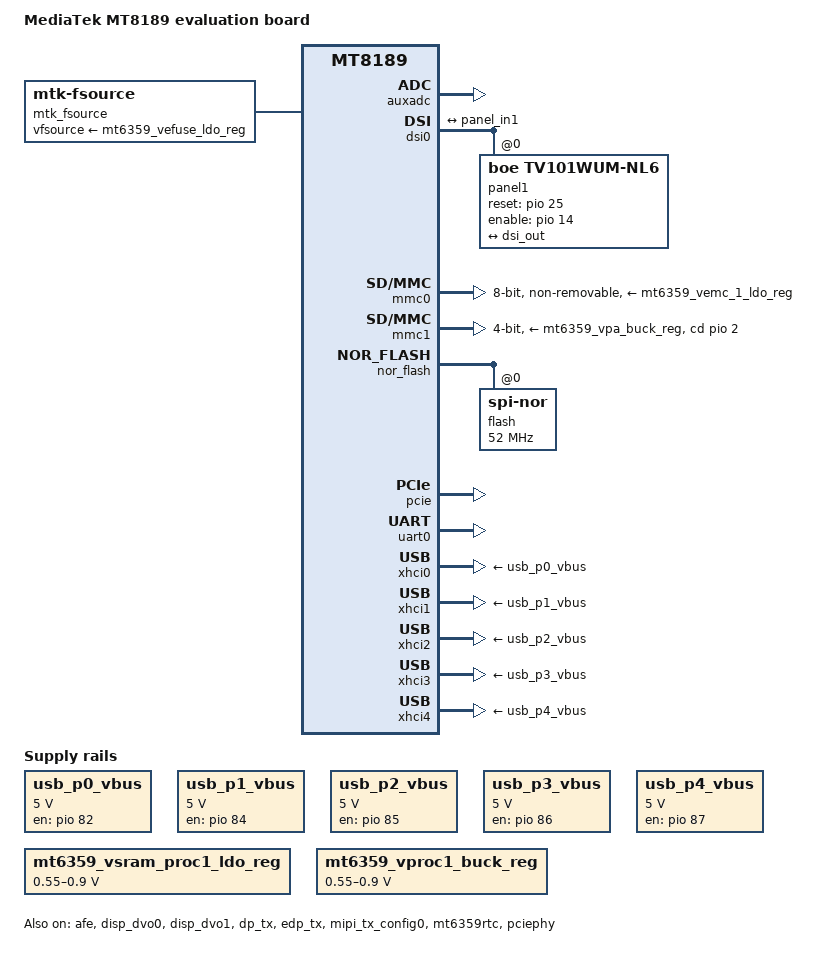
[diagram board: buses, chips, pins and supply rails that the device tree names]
// SPDX-License-Identifier: (GPL-2.0 OR MIT)
/*
 * Copyright (C) 2025 MediaTek Inc.
 * Author: Sirius Wang <sirius.wang@mediatek.com>
 */
/dts-v1/;
#include "mt8189.dtsi"
#include "mt8189-pinfunc.h"
#include "mt6319.dtsi"
#include "mt6359.dtsi"
#include <dt-bindings/gpio/gpio.h>

/ {
	model = "MediaTek MT8189 evaluation board";
	compatible = "mediatek,mt8189-evb", "mediatek,mt8189";

	chosen: chosen {
		stdout-path = "serial0:115200n8";
	};

	usb_p0_vbus: regulator@0 {
		compatible = "regulator-fixed";
		regulator-name = "p0_vbus";
		regulator-min-microvolt = <5000000>;
		regulator-max-microvolt = <5000000>;
		gpio = <&pio 82 0>;
		enable-active-high;
	};

	usb_p1_vbus: regulator@1 {
		compatible = "regulator-fixed";
		regulator-name = "p1_vbus";
		regulator-min-microvolt = <5000000>;
		regulator-max-microvolt = <5000000>;
		gpio = <&pio 84 0>;
		enable-active-high;
	};

	usb_p2_vbus: regulator@2 {
		compatible = "regulator-fixed";
		regulator-name = "p2_vbus";
		regulator-min-microvolt = <5000000>;
		regulator-max-microvolt = <5000000>;
		gpio = <&pio 85 0>;
		enable-active-high;
	};

	usb_p3_vbus: regulator@3 {
		compatible = "regulator-fixed";
		regulator-name = "p3_vbus";
		regulator-min-microvolt = <5000000>;
		regulator-max-microvolt = <5000000>;
		gpio = <&pio 86 0>;
		enable-active-high;
	};

	usb_p4_vbus: regulator@4 {
		compatible = "regulator-fixed";
		regulator-name = "p4_vbus";
		regulator-min-microvolt = <5000000>;
		regulator-max-microvolt = <5000000>;
		gpio = <&pio 87 0>;
		enable-active-high;
	};

	mtk_fsource: fsource {
		compatible = "mtk-fsource";
		vfsource-supply = <&mt6359_vefuse_ldo_reg>;
	};
};

&afe{
	pinctrl-names = "aud-gpio-i2sin0-off",
		"aud-gpio-i2sin0-on",
		"aud-gpio-i2sout0-off",
		"aud-gpio-i2sout0-on",
		"aud-gpio-i2sin1-off",
		"aud-gpio-i2sin1-on",
		"aud-gpio-i2sout1-off",
		"aud-gpio-i2sout1-on",
		/*dmic*/
		"aud-gpio-ap-dmic-off",
		"aud-gpio-ap-dmic-on",
		"aud-gpio-ap-dmic1-off",
		"aud-gpio-ap-dmic1-on",
		/*pcm*/
		"aud-gpio-pcm-off",
		"aud-gpio-pcm-on";

	/* i2s */
	pinctrl-0 = <&aud_gpio_i2sin0_off>;
	pinctrl-1 = <&aud_gpio_i2sin0_on>;
	pinctrl-2 = <&aud_gpio_i2sout0_off>;
	pinctrl-3 = <&aud_gpio_i2sout0_on>;
	pinctrl-4 = <&aud_gpio_i2sin1_off>;
	pinctrl-5 = <&aud_gpio_i2sin1_on>;
	pinctrl-6 = <&aud_gpio_i2sout1_off>;
	pinctrl-7 = <&aud_gpio_i2sout1_on>;
	/* dmic */
	pinctrl-8 = <&aud_gpio_ap_dmic_off>;
	pinctrl-9 = <&aud_gpio_ap_dmic_on>;
	pinctrl-10 = <&aud_gpio_ap_dmic1_off>;
	pinctrl-11 = <&aud_gpio_ap_dmic1_on>;
	/* pcm */
	pinctrl-12 = <&aud_gpio_pcm_off>;
	pinctrl-13 = <&aud_gpio_pcm_on>;

	status = "okay";
};

&auxadc {
	status = "okay";
};

&cpuhvfs {
	proc1-supply = <&mt6359_vmodem_buck_reg>; //L
	proc2-supply = <&mt6319_7_vbuck1>; //B
	proc3-supply = <&mt6359_vmodem_buck_reg>; //DSU
};

&disp_dvo0 {
	status = "okay";

	ports {
		port {
			disp_dvo0_out: endpoint {
				remote-endpoint = <&edptx_in>;
			};
		};
	};
};

&disp_dvo1 {
	status = "okay";

	port {
		disp1_dp_intf0_out: endpoint {
			remote-endpoint = <&dptx_in0>;
		};
	};
};

&dp_tx {
	#sound-dai-cells = <0>;
	pinctrl-names = "default";
	pinctrl-0 = <&dptx_pin>;

	status = "okay";

	ports {
		#address-cells = <1>;
		#size-cells = <0>;

		port@0 {
			reg = <0>;
			dptx_in0: endpoint {
				remote-endpoint = <&disp1_dp_intf0_out>;
			};
		};

		port@1 {
			reg = <1>;
			dptx_out: endpoint {
				data-lanes = <0 1 2 3>;
			};
		};
	};
};

&dsi0 {
	#address-cells = <1>;
	#size-cells = <0>;
	status = "okay";

	panel1@0 {
		compatible = "boe,tv101wum-nl6";
		reg = <0>;
		reset-gpios = <&pio 25 GPIO_ACTIVE_HIGH>;
		enable-gpios = <&pio 14 GPIO_ACTIVE_HIGH>;
		gate-ic = <4831>;
		pinctrl-names = "default";
		status = "okay";

		port {
			panel_in1: endpoint {
				remote-endpoint = <&dsi_out>;
			};
		};
	};

	port {
		dsi_out: endpoint {
			remote-endpoint = <&panel_in1>;
		};
	};
};

&edp_tx {
	pinctrl-names = "default";
	pinctrl-0 = <&edp_tx_hpd_pins>;
	max-lane-count = <4>;
	max-linkrate-mhz = <5400>;
	use-aux-bus;
	status = "okay";

	ports {
		#address-cells = <1>;
		#size-cells = <0>;

		port@0 {
			reg = <0>;
			edptx_in: endpoint {
				remote-endpoint = <&disp_dvo0_out>;
			};
		};

		port@1 {
			reg = <1>;
			edp_out: endpoint {
				data-lanes = <0 1 2 3>;
				remote-endpoint = <&edp_panel_in>;
			};
		};
	};

	aux-bus {
		panel: panel {
			compatible = "edp-panel";
			pinctrl-names = "default";
			pinctrl-0 = <&panel_fixed_pins>;

			status = "okay";

			port {
				edp_panel_in: endpoint {
					remote-endpoint = <&edp_out>;
				};
			};
		};
	};
};

&gpu {
	supply-names = "mali";
	mali-supply = <&mt6359_vproc1_buck_reg>;
};

&i2c0 {
	pinctrl-names = "default";
	pinctrl-0 = <&i2c0_pins>;
	status = "disabled";
};

&i2c1 {
	pinctrl-names = "default";
	pinctrl-0 = <&i2c1_pins>;
	status = "disabled";
};

&i2c2 {
	pinctrl-names = "default";
	pinctrl-0 = <&i2c2_pins>;
	status = "disabled";

	nau8825: audio-codec@1a {
		compatible = "nuvoton,nau8825";
		reg = <0x1a>;
		interrupts-extended = <&pio 4 IRQ_TYPE_LEVEL_LOW>;
		pinctrl-names = "default";
		pinctrl-0 = <&audio_codec_pins>;
		#sound-dai-cells = <0>;

		nuvoton,jkdet-enable;
		nuvoton,jkdet-polarity = <1>;
		nuvoton,vref-impedance = <2>;
		nuvoton,micbias-voltage = <6>;
		nuvoton,sar-threshold-num = <4>;
		nuvoton,sar-threshold = <0xc 0x1e 0x38 0x60>;
		nuvoton,sar-hysteresis = <1>;
		nuvoton,sar-voltage = <0>;
		nuvoton,sar-compare-time = <0>;
		nuvoton,sar-sampling-time = <0>;
		nuvoton,short-key-debounce = <2>;
		nuvoton,jack-insert-debounce = <7>;
		nuvoton,jack-eject-debounce = <7>;
		nuvoton,adc-delay-ms = <300>;
		status = "disabled";
	};
};

&i2c3 {
	pinctrl-names = "default";
	pinctrl-0 = <&i2c3_pins>;
	status = "disabled";
};

&i2c4 {
	pinctrl-names = "default";
	pinctrl-0 = <&i2c4_pins>;
	status = "disabled";
};

&i2c5 {
	pinctrl-names = "default";
	pinctrl-0 = <&i2c5_pins>;
	status = "disabled";
};

&i2c6 {
	pinctrl-names = "default";
	pinctrl-0 = <&i2c6_pins>;
	status = "disabled";
};

&i2c7 {
	pinctrl-names = "default";
	pinctrl-0 = <&i2c7_pins>;
	status = "disabled";
};

&i2c8 {
	pinctrl-names = "default";
	pinctrl-0 = <&i2c8_pins>;
	status = "disabled";
};

&mipi_tx_config0 {
	status = "okay";
};

&mmc0 {
	status = "okay";
	pinctrl-names = "default", "state_uhs";
	pinctrl-0 = <&mmc0_pins_default>;
	pinctrl-1 = <&mmc0_pins_uhs>;
	bus-width = <8>;
	max-frequency = <200000000>;
	cap-mmc-highspeed;
	mmc-hs200-1_8v;
	mmc-hs400-1_8v;
	mmc-hs400-enhanced-strobe;
	supports-cqe;
	cap-mmc-hw-reset;
	no-sdio;
	no-sd;
	non-removable;
	hs400-ds-delay = <0x1481b>;
	mediatek,hs400-ds-dly3 = <0x14>;
	vmmc-supply = <&mt6359_vemc_1_ldo_reg>;
	vqmmc-supply = <&mt6359_vufs_ldo_reg>;
};

&mmc1 {
	status = "okay";
	pinctrl-names = "default", "state_uhs";
	pinctrl-0 = <&mmc1_pins_default>;
	pinctrl-1 = <&mmc1_pins_uhs>;
	bus-width = <4>;
	max-frequency = <200000000>;
	cap-sd-highspeed;
	sd-uhs-sdr50;
	sd-uhs-sdr104;
	no-mmc;
	no-sdio;
	cd-gpios = <&pio 2 GPIO_ACTIVE_HIGH>;
	vmmc-supply = <&mt6359_vpa_buck_reg>;
	vqmmc-supply = <&mt6359_vsim1_ldo_reg>;
};

&mt6359_vpa_buck_reg {
	regulator-max-microvolt = <3000000>;
};

&mt6359_vmodem_buck_reg {
	regulator-always-on;
};

&mt6359_vsram_proc2_ldo_reg {
	regulator-always-on;
};

&mt6359_vsram_md_ldo_reg {
	regulator-always-on;
};

&mt6359_vpu_buck_reg {
	regulator-always-on;
};

&mt6359_vgpu11_buck_reg{
	regulator-always-on;
};

&mt6359_vproc2_buck_reg{
	regulator-always-on;
};

&mt6359_vaux18_ldo_reg{
	regulator-always-on;
};

&mt6359_vrf12_ldo_reg{
	regulator-always-on;
};

&mt6359_va09_ldo_reg{
	regulator-always-on;
};

&mt6359_vrfck_ldo_reg{
	regulator-always-on;
};

&mt6359_vbbck_ldo_reg{
	regulator-always-on;
};

&mt6359_vsram_proc1_ldo_reg{
	 /delete-property/ regulator-always-on;
};

/delete-node/ &mt6319_7_vbuck2;
/delete-node/ &mt6319_8_vbuck2;
/delete-node/ &mt6319_8_vbuck4;

&mt6359_vproc1_buck_reg {
	regulator-name = "buck_vgpu";
	regulator-min-microvolt = <550000>;
	regulator-max-microvolt = <900000>;
	regulator-coupled-with = <&mt6359_vsram_proc1_ldo_reg>;
	regulator-coupled-max-spread = <6250>;
};

&mt6359_vsram_proc1_ldo_reg {
	regulator-name = "ldo_sram_gpu";
	regulator-min-microvolt = <550000>;
	regulator-max-microvolt = <900000>;
	regulator-coupled-with = <&mt6359_vproc1_buck_reg>;
	regulator-coupled-max-spread = <6250>;
};

&mt6359rtc {
	status = "okay";
};

&nor_flash {
	pinctrl-names = "default";
	pinctrl-0 = <&nor_pins>;

	status = "okay";

	flash@0 {
		compatible = "jedec,spi-nor";
		reg = <0>;
		spi-max-frequency = <52000000>;
		spi-rx-bus-width = <2>;
		spi-tx-bus-width = <2>;
	};
};

&pcie {
	pinctrl-names = "default";
	pinctrl-0 = <&pcie_pins_default>;
	status = "okay";
};

&pciephy {
	status = "okay";
};

&pio {
	edp_tx_hpd_pins: edp-tx-hpd-pins{
		pins-hpd {
			pinmux = <PINMUX_GPIO28__FUNC_EDP_TX_HPD>;
			bias-pull-up;
		};
	};

	panel_fixed_pins: panel-fixed-pins {
		pins1 {
			pinmux = <PINMUX_GPIO29__FUNC_GPIO29>,
				 <PINMUX_GPIO108__FUNC_GPIO108>,
				 <PINMUX_GPIO109__FUNC_GPIO109>,
				 <PINMUX_GPIO110__FUNC_GPIO110>;
			bias-pull-up;
		};
	};

	i2c0_pins: i2c0-default {
		pins-bus {
			pinmux = <PINMUX_GPIO52__FUNC_SDA0>,
				 <PINMUX_GPIO51__FUNC_SCL0>;
			bias-disable;
		};
	};

	i2c1_pins: i2c1-default {
		pins-bus {
			pinmux = <PINMUX_GPIO54__FUNC_SDA1>,
				 <PINMUX_GPIO53__FUNC_SCL1>;
			bias-disable;
		};
	};

	i2c2_pins: i2c2-default {
		pins-bus {
			pinmux = <PINMUX_GPIO56__FUNC_SDA2>,
				 <PINMUX_GPIO55__FUNC_SCL2>;
			bias-disable;
		};
	};

	i2c3_pins: i2c3-default {
		pins-bus {
			pinmux = <PINMUX_GPIO58__FUNC_SDA3>,
				 <PINMUX_GPIO57__FUNC_SCL3>;
			bias-disable;
		};
	};

	i2c4_pins: i2c4-default {
		pins-bus {
			pinmux = <PINMUX_GPIO60__FUNC_SDA4>,
				 <PINMUX_GPIO59__FUNC_SCL4>;
			bias-disable;
		};
	};
	i2c5_pins: i2c5-default {
		pins-bus {
			pinmux = <PINMUX_GPIO62__FUNC_SDA5>,
				 <PINMUX_GPIO61__FUNC_SCL5>;
			bias-disable;
		};
	};

	i2c6_pins: i2c6-default {
		pins-bus {
			pinmux = <PINMUX_GPIO64__FUNC_SDA6>,
				 <PINMUX_GPIO63__FUNC_SCL6>;
			bias-disable;
		};
	};

	i2c7_pins: i2c7-default {
		pins-bus {
			pinmux = <PINMUX_GPIO66__FUNC_SDA7>,
				 <PINMUX_GPIO65__FUNC_SCL7>;
			bias-disable;
		};
	};

	i2c8_pins: i2c8-default {
		pins-bus {
			pinmux = <PINMUX_GPIO68__FUNC_SDA8>,
				 <PINMUX_GPIO67__FUNC_SCL8>;
			bias-disable;
		};
	};

	spi0_pins: spi0-default {
		pins-cmd-dat {
			pinmux = <PINMUX_GPIO69__FUNC_SPIM0_CSB>,
				 <PINMUX_GPIO70__FUNC_SPIM0_CLK>,
				 <PINMUX_GPIO71__FUNC_SPIM0_MO>,
				 <PINMUX_GPIO72__FUNC_SPIM0_MI>;
		};
	};

	spi1_pins: spi1-default {
		pins-cmd-dat {
			pinmux = <PINMUX_GPIO73__FUNC_SPIM1_CSB>,
				 <PINMUX_GPIO74__FUNC_SPIM1_CLK>,
				 <PINMUX_GPIO75__FUNC_SPIM1_MO>,
				 <PINMUX_GPIO76__FUNC_SPIM1_MI>;
		};
	};

	spi2_pins: spi2-default {
		pins-cmd-dat {
			pinmux = <PINMUX_GPIO77__FUNC_SPIM2_CSB>,
				 <PINMUX_GPIO78__FUNC_SPIM2_CLK>,
				 <PINMUX_GPIO79__FUNC_SPIM2_MO>,
				 <PINMUX_GPIO80__FUNC_SPIM2_MI>;
		};
	};

	spi3_pins: spi3-default {
		pins-cmd-dat {
			pinmux = <PINMUX_GPIO0__FUNC_SPIM3_A_CSB>,
				 <PINMUX_GPIO1__FUNC_SPIM3_A_CLK>,
				 <PINMUX_GPIO2__FUNC_SPIM3_A_MO>,
				 <PINMUX_GPIO3__FUNC_SPIM3_A_MI>;
		};
	};

	spi4_pins: spi4-default {
		pins-cmd-dat {
			pinmux = <PINMUX_GPIO4__FUNC_SPIM4_A_CSB>,
				 <PINMUX_GPIO5__FUNC_SPIM4_A_CLK>,
				 <PINMUX_GPIO6__FUNC_SPIM4_A_MO>,
				 <PINMUX_GPIO7__FUNC_SPIM4_A_MI>;
		};
	};

	spi5_pins: spi5-default {
		pins-cmd-dat {
			pinmux = <PINMUX_GPIO8__FUNC_SPIM5_A_CSB>,
				 <PINMUX_GPIO9__FUNC_SPIM5_A_CLK>,
				 <PINMUX_GPIO10__FUNC_SPIM5_A_MO>,
				 <PINMUX_GPIO11__FUNC_SPIM5_A_MI>;
		};
	};

	pcie_pins_default: pcie-default {
		pins-cmd-dat {
			pinmux = <PINMUX_GPIO48__FUNC_WAKEN>,
				 <PINMUX_GPIO49__FUNC_PERSTN>,
				 <PINMUX_GPIO50__FUNC_CLKREQN>;
		};
	};

	nor_pins: nor-pins {
		pins-ck-io {
			pinmux = <PINMUX_GPIO150__FUNC_SPINOR_CK>,
				 <PINMUX_GPIO152__FUNC_SPINOR_IO0>,
				 <PINMUX_GPIO153__FUNC_SPINOR_IO1>;
			drive-strength = <8>;
			bias-pull-down;
		};

		pins-cs {
			pinmux = <PINMUX_GPIO151__FUNC_SPINOR_CS>;
			drive-strength = <8>;
			bias-pull-up;
		};
	};

	dptx_pin: dptx-default-pins {
		pins-cmd-dat {
			pinmux = <PINMUX_GPIO27__FUNC_DP_TX_HPD>;
		};
	};
	audio_spk_en_pins: audio_spk_en_pins {
		pins-spk-en {
			pinmux = <PINMUX_GPIO5__FUNC_GPIO5>;
			output-low;
		};
	};

	audio_codec_pins: audio-codec-pins {
		pins-hp-int-odl {
			pinmux = <PINMUX_GPIO4__FUNC_GPIO4>;
			input-enable;
			bias-disable;
		};
	};

	aud_gpio_i2sin0_off: aud-gpio-i2sin0-off {
		pins-cmd1-dat {
			pinmux = <PINMUX_GPIO106__FUNC_GPIO106>;
			input-enable;
			bias-pull-down;
		};
	};

	aud_gpio_i2sin0_on: aud-gpio-i2sin0-on {
		pins-cmd1-dat {
			pinmux = <PINMUX_GPIO106__FUNC_I2SIN0_DI>;
			input-schmitt-enable;
			bias-disable;
		};
	};

	aud_gpio_i2sout0_off: aud-gpio-i2sout0-off {
		pins-cmd1-dat {
			pinmux = <PINMUX_GPIO107__FUNC_GPIO107>;
			input-enable;
			bias-pull-down;
		};

		pins-cmd2-dat {
			pinmux = <PINMUX_GPIO108__FUNC_GPIO108>;
			input-enable;
			bias-pull-down;
		};

		pins-cmd3-dat {
			pinmux = <PINMUX_GPIO109__FUNC_GPIO109>;
			input-enable;
			bias-pull-down;
		};

		pins-cmd4-dat {
			pinmux = <PINMUX_GPIO110__FUNC_GPIO110>;
			input-enable;
			bias-pull-down;
		};
	};

	aud_gpio_i2sout0_on: aud-gpio-i2sout0-on {
		pins-cmd1-dat {
			pinmux = <PINMUX_GPIO107__FUNC_I2SOUT0_MCK>;
			input-schmitt-enable;
			bias-disable;
		};

		pins-cmd2-dat {
			pinmux = <PINMUX_GPIO108__FUNC_I2SOUT0_BCK>;
			input-schmitt-enable;
			bias-disable;
		};

		pins-cmd3-dat {
			pinmux = <PINMUX_GPIO109__FUNC_I2SOUT0_LRCK>;
			input-schmitt-enable;
			bias-disable;
		};

		pins-cmd4-dat {
			pinmux = <PINMUX_GPIO110__FUNC_I2SOUT0_DO>;
			input-schmitt-enable;
			bias-disable;
		};
	};

	aud_gpio_i2sin1_off: aud-gpio-i2sin1-off {
		pins-cmd1-dat {
			pinmux = <PINMUX_GPIO130__FUNC_GPIO130>;
			input-enable;
			bias-pull-down;
		};
	};

	aud_gpio_i2sin1_on: aud-gpio-i2sin1-on {
		pins-cmd1-dat {
			pinmux = <PINMUX_GPIO130__FUNC_I2SIN1_DI>;
			input-schmitt-enable;
			bias-disable;
		};
	};

	aud_gpio_i2sout1_off: aud-gpio-i2sout1-off {
		pins-cmd1-dat {
			pinmux = <PINMUX_GPIO111__FUNC_GPIO111>;
			input-enable;
			bias-pull-down;
		};

		pins-cmd2-dat {
			pinmux = <PINMUX_GPIO112__FUNC_GPIO112>;
			input-enable;
			bias-pull-down;
		};

		pins-cmd3-dat {
			pinmux = <PINMUX_GPIO113__FUNC_GPIO113>;
			input-enable;
			bias-pull-down;
		};

		pins-cmd4-dat {
			pinmux = <PINMUX_GPIO114__FUNC_GPIO114>;
			input-enable;
			bias-pull-down;
		};
	};

	aud_gpio_i2sout1_on: aud-gpio-i2sout1-on {
		pins-cmd1-dat {
			pinmux = <PINMUX_GPIO111__FUNC_I2SOUT1_MCK>;
			input-schmitt-enable;
			bias-disable;
		};

		pins-cmd2-dat {
			pinmux = <PINMUX_GPIO112__FUNC_I2SOUT1_BCK>;
			input-schmitt-enable;
			bias-disable;
		};

		pins-cmd3-dat {
			pinmux = <PINMUX_GPIO113__FUNC_I2SOUT1_LRCK>;
			input-schmitt-enable;
			bias-disable;
		};

		pins-cmd4-dat {
			pinmux = <PINMUX_GPIO114__FUNC_I2SOUT1_DO>;
			input-schmitt-enable;
			bias-disable;
		};
	};

	aud_gpio_ap_dmic_off: aud-gpio-ap-dmic-off {
		pins-cmd1-dat {
			pinmux = <PINMUX_GPIO119__FUNC_GPIO119>;
			input-enable;
			bias-pull-down;
		};
		pins-cmd2-dat {
			pinmux = <PINMUX_GPIO120__FUNC_GPIO120>;
			input-enable;
			bias-pull-down;
		};
	};
	aud_gpio_ap_dmic_on: aud-gpio-ap-dmic-on {
		pins-cmd1-dat {
			pinmux = <PINMUX_GPIO119__FUNC_DMIC0_CLK>;
			input-schmitt-enable;
			bias-disable;
		};
		pins-cmd2-dat {
			pinmux = <PINMUX_GPIO120__FUNC_DMIC0_DAT0>;
			input-schmitt-enable;
			bias-disable;
		};
	};
	aud_gpio_ap_dmic1_off: aud-gpio-ap-dmic1-off {
		pins-cmd1-dat {
			pinmux = <PINMUX_GPIO122__FUNC_GPIO122>;
			input-enable;
			bias-pull-down;
		};
		pins-cmd2-dat {
			pinmux = <PINMUX_GPIO123__FUNC_GPIO123>;
			input-enable;
			bias-pull-down;
		};
	};
	aud_gpio_ap_dmic1_on: aud-gpio-ap-dmic1-on {
		pins-cmd1-dat {
			pinmux = <PINMUX_GPIO122__FUNC_DMIC1_CLK>;
			input-schmitt-enable;
			bias-disable;
		};
		pins-cmd2-dat {
			pinmux = <PINMUX_GPIO123__FUNC_DMIC1_DAT0>;
			input-schmitt-enable;
			bias-disable;
		};
	};

	aud_gpio_pcm_off: aud-gpio-pcm-off {
		pins-cmd1-dat {
			pinmux = <PINMUX_GPIO115__FUNC_GPIO115>;
			input-enable;
			bias-pull-down;
		};
		pins-cmd2-dat {
			pinmux = <PINMUX_GPIO116__FUNC_GPIO116>;
			input-enable;
			bias-pull-down;
		};
		pins-cmd3-dat {
			pinmux = <PINMUX_GPIO118__FUNC_GPIO118>;
			input-enable;
			bias-pull-down;
		};
	};

	aud_gpio_pcm_on: aud-gpio-pcm-on {
		pins-cmd1-dat {
			pinmux = <PINMUX_GPIO115__FUNC_PCM0_CLK>;
			input-schmitt-enable;
			bias-disable;
		};
		pins-cmd2-dat {
			pinmux = <PINMUX_GPIO116__FUNC_PCM0_SYNC>;
			input-schmitt-enable;
			bias-disable;
		};
		pins-cmd3-dat {
			pinmux = <PINMUX_GPIO118__FUNC_PCM0_DO>;
			input-schmitt-enable;
			bias-disable;
		};
	};
	/* AUDIO GPIO standardization end */

	mmc0_pins_default: mmc0default {
		pins-cmd-dat {
			pinmux = <PINMUX_GPIO156__FUNC_MSDC0_DAT7>,
				 <PINMUX_GPIO157__FUNC_MSDC0_DAT6>,
				 <PINMUX_GPIO158__FUNC_MSDC0_DAT5>,
				 <PINMUX_GPIO159__FUNC_MSDC0_DAT4>,
				 <PINMUX_GPIO161__FUNC_MSDC0_CMD>,
				 <PINMUX_GPIO163__FUNC_MSDC0_DAT3>,
				 <PINMUX_GPIO164__FUNC_MSDC0_DAT2>,
				 <PINMUX_GPIO165__FUNC_MSDC0_DAT1>,
				 <PINMUX_GPIO166__FUNC_MSDC0_DAT0>;
			input-enable;
			drive-strength = <MTK_DRIVE_6mA>;
			bias-pull-up = <MTK_PUPD_SET_R1R0_01>;
		};
		pins-clk {
			pinmux = <PINMUX_GPIO162__FUNC_MSDC0_CLK>;
			drive-strength = <MTK_DRIVE_6mA>;
			bias-pull-down = <MTK_PUPD_SET_R1R0_10>;
		};
		pins-rst {
			pinmux = <PINMUX_GPIO160__FUNC_MSDC0_RSTB>;
			drive-strength = <MTK_DRIVE_6mA>;
			bias-pull-up = <MTK_PUPD_SET_R1R0_00>;
		};
	};

	mmc0_pins_uhs: mmc0@0{
		pins-cmd-dat {
			pinmux = <PINMUX_GPIO156__FUNC_MSDC0_DAT7>,
				 <PINMUX_GPIO157__FUNC_MSDC0_DAT6>,
				 <PINMUX_GPIO158__FUNC_MSDC0_DAT5>,
				 <PINMUX_GPIO159__FUNC_MSDC0_DAT4>,
				 <PINMUX_GPIO161__FUNC_MSDC0_CMD>,
				 <PINMUX_GPIO163__FUNC_MSDC0_DAT3>,
				 <PINMUX_GPIO164__FUNC_MSDC0_DAT2>,
				 <PINMUX_GPIO165__FUNC_MSDC0_DAT1>,
				 <PINMUX_GPIO166__FUNC_MSDC0_DAT0>;
			input-enable;
			drive-strength = <MTK_DRIVE_8mA>;
			bias-pull-up = <MTK_PUPD_SET_R1R0_01>;
		};
		pins-clk {
			pinmux = <PINMUX_GPIO162__FUNC_MSDC0_CLK>;
			drive-strength = <MTK_DRIVE_8mA>;
			bias-pull-down = <MTK_PUPD_SET_R1R0_10>;
		};
		pins-ds {
			pinmux = <PINMUX_GPIO167__FUNC_MSDC0_DSL>;
			drive-strength = <MTK_DRIVE_8mA>;
			bias-pull-down = <MTK_PUPD_SET_R1R0_10>;
		};
		pins-rst {
			pinmux = <PINMUX_GPIO160__FUNC_MSDC0_RSTB>;
			bias-pull-up = <MTK_PUPD_SET_R1R0_00>;
		};
	};

	mmc1_pins_default: mmc1default {
		pins-cmd-dat {
			pinmux = <PINMUX_GPIO168__FUNC_MSDC1_CMD>,
				 <PINMUX_GPIO170__FUNC_MSDC1_DAT0>,
				 <PINMUX_GPIO171__FUNC_MSDC1_DAT1>,
				 <PINMUX_GPIO172__FUNC_MSDC1_DAT2>,
				 <PINMUX_GPIO173__FUNC_MSDC1_DAT3>;
			input-enable;
			drive-strength = <MTK_DRIVE_8mA>;
			bias-pull-up = <MTK_PUPD_SET_R1R0_01>;
		};
		pins-clk {
			pinmux = <PINMUX_GPIO169__FUNC_MSDC1_CLK>;
			drive-strength = <MTK_DRIVE_8mA>;
			bias-pull-down = <MTK_PUPD_SET_R1R0_10>;
		};
		pins-insert {
			pinmux = <PINMUX_GPIO2__FUNC_GPIO2>;
			bias-pull-up;
		};
	};

	mmc1_pins_uhs: mmc1@0{
		pins-cmd-dat {
			pinmux = <PINMUX_GPIO168__FUNC_MSDC1_CMD>,
				 <PINMUX_GPIO170__FUNC_MSDC1_DAT0>,
				 <PINMUX_GPIO171__FUNC_MSDC1_DAT1>,
				 <PINMUX_GPIO172__FUNC_MSDC1_DAT2>,
				 <PINMUX_GPIO173__FUNC_MSDC1_DAT3>;
			input-enable;
			drive-strength = <MTK_DRIVE_8mA>;
			bias-pull-up = <MTK_PUPD_SET_R1R0_01>;
		};
		pins-clk {
			pinmux = <PINMUX_GPIO169__FUNC_MSDC1_CLK>;
			drive-strength = <MTK_DRIVE_8mA>;
			bias-pull-down = <MTK_PUPD_SET_R1R0_10>;
		};
	};
};

&pmic {
	interrupts-extended = <&pio 194 IRQ_TYPE_LEVEL_HIGH>;
};

&sound {
	compatible = "mediatek,mt8189-nau8825-sound";
	model = "mt8189_rt9123_8825";
	status = "okay";

	dai-link-0 {
		link-name = "I2SOUT0_BE";
		mediatek,clk-provider = "cpu";

		codec {
			sound-dai = <&nau8825>;
		};
	};

	dai-link-1 {
		link-name = "I2SIN0_BE";
		mediatek,clk-provider = "cpu";

		codec {
			sound-dai = <&nau8825>;
		};
	};
};

&spi0 {
	pinctrl-names = "default";
	pinctrl-0 = <&spi0_pins>;
	status = "disable";
};

&spi1 {
	pinctrl-names = "default";
	pinctrl-0 = <&spi1_pins>;
	status = "disable";
};

&spi2 {
	pinctrl-names = "default";
	pinctrl-0 = <&spi2_pins>;
	status = "disable";
};

&spi3 {
	pinctrl-names = "default";
	pinctrl-0 = <&spi3_pins>;
	status = "disable";
};

&spi4 {
	pinctrl-names = "default";
	pinctrl-0 = <&spi4_pins>;
	status = "disable";
};

&spi5 {
	pinctrl-names = "default";
	pinctrl-0 = <&spi5_pins>;
	status = "disable";
};

&scpsys {
	mfg0-supply = <&mt6359_vproc1_buck_reg>;
	mfg1-supply = <&mt6359_vsram_proc1_ldo_reg>;
};

&uart0 {
	status = "okay";
};

&ufshci {
	vcc-supply = <&mt6359_vemc_1_ldo_reg>;
	vccq-supply = <&mt6359_vio18_ldo_reg>;
	vccq2-supply = <&mt6359_vufs_ldo_reg>;
};

&xhci0{
	vbus-supply = <&usb_p0_vbus>;
	status = "okay";
};

&xhci1{
	vbus-supply = <&usb_p1_vbus>;
	status = "okay";
};

&xhci2{
	vbus-supply = <&usb_p2_vbus>;
	status = "okay";
};

&xhci3{
	vbus-supply = <&usb_p3_vbus>;
	status = "okay";
};

&xhci4{
	vbus-supply = <&usb_p4_vbus>;
	status = "okay";
};
